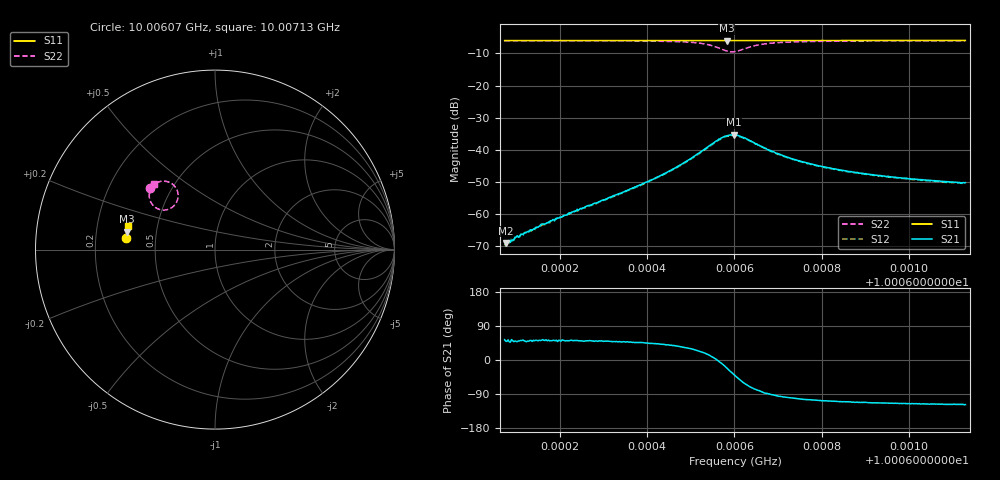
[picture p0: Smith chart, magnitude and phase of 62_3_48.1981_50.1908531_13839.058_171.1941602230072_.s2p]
#  HZ  S  RI  R  50.00
! Rohde & Schwarz Vector Network Analyzer
! Rohde-Schwarz,ZNB20-2Port,1311601062101988,3.16
! Created: UTC 3/20/2024, 11:38:49 AM
! freq[Hz]  re:S11  im:S11  re:S21  im:S21  re:S12  im:S12  re:S22  im:S22
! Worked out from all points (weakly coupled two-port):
!   401 points, 10.00607 GHz to 10.00713 GHz, reference 50 ohm
!   highest |S21| = -35.27 dB at 10.0066 GHz (marker M1); lowest = -68.9 dB at 10.00608 GHz (marker M2)
!   lowest |S11| = -6.0 dB at 10.00658 GHz (marker M3), VSWR 3.01, Z = 16.8 + j4.46 ohm
!   |S11| at or under -10 dB: nowhere
!   |S22| runs from -9.5 to -6.0 dB; largest |S21 - S12| = 0.0011
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1.0006074e10  -0.4972 0.0673  0.000217 0.000294  0.000206 0.000282  -0.3625 0.3429
1.0006077e10  -0.4972 0.0674  0.000231 0.000274  0.000211 0.00024  -0.3623 0.3429
1.0006082e10  -0.4971 0.0676  0.000233 0.000311  0.000208 0.000284  -0.3619 0.3435
1.000609e10  -0.4971 0.0682  0.00023 0.000316  0.000265 0.000325  -0.3615 0.344
1.0006116e10  -0.4969 0.07  0.000295 0.000387  0.000274 0.000378  -0.3596 0.3458
1.0006158e10  -0.4964 0.0727  0.000437 0.000555  0.000393 0.000546  -0.3564 0.3491
1.0006251e10  -0.4958 0.0787  0.000769 0.000939  0.000726 0.000999  -0.3481 0.3568
1.0006332e10  -0.495 0.0842  0.00137 0.00152  0.00122 0.00156  -0.3378 0.3649
1.0006427e10  -0.494 0.0904  0.00289 0.00262  0.00271 0.00269  -0.3166 0.376
1.0006472e10  -0.4934 0.0934  0.00457 0.00333  0.00431 0.00343  -0.2974 0.3808
1.000653e10  -0.4923 0.0971  0.00957 0.00331  0.00916 0.00363  -0.2477 0.3718
1.0006559e10  -0.4916 0.0987  0.0139 0.000248  0.0134 0.000919  -0.2128 0.3348
1.0006583e10  -0.4908 0.0997  0.0155 -0.00609  0.0155 -0.00517  -0.2103 0.273
1.0006599e10  -0.4907 0.1002  0.0135 -0.0107  0.0136 -0.00966  -0.2394 0.2348
1.0006601e10  -0.4908 0.1003  0.0129 -0.0113  0.0132 -0.0102  -0.2461 0.2307
1.0006628e10  -0.4912 0.1016  0.00626 -0.0134  0.00688 -0.0129  -0.3123 0.2248
1.0006659e10  -0.4913 0.1037  0.00155 -0.0114  0.002 -0.0112  -0.3525 0.2556
1.0006717e10  -0.491 0.1075  -0.00115 -0.00781  -0.000743 -0.0077  -0.3662 0.2994
1.0006778e10  -0.4903 0.1115  -0.0016 -0.00579  -0.0013 -0.00573  -0.3634 0.3227
1.0006865e10  -0.4892 0.1173  -0.00161 -0.00432  -0.00142 -0.00431  -0.3564 0.3407
1.0006955e10  -0.488 0.1231  -0.00157 -0.00351  -0.00134 -0.00352  -0.3497 0.3522
1.0007129e10  -0.4856 0.1341  -0.00144 -0.00275  -0.00125 -0.00274  -0.3384 0.3671
